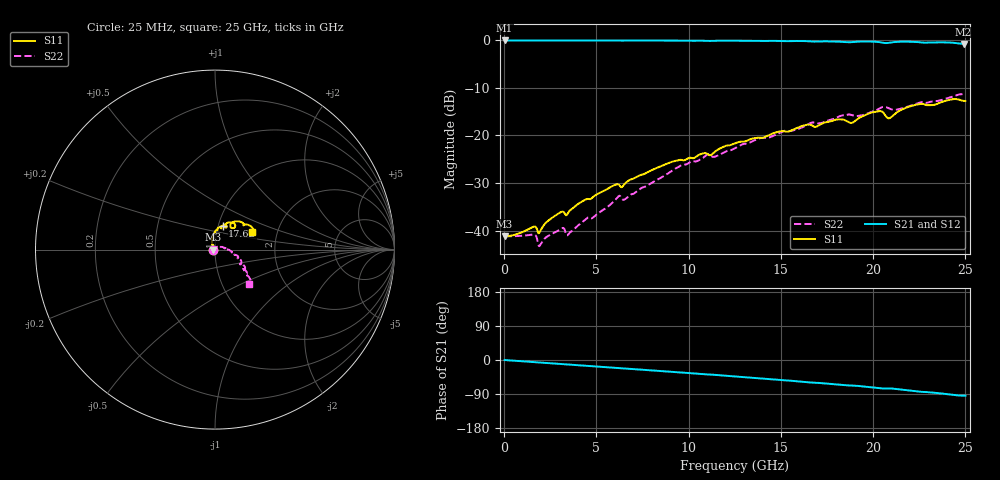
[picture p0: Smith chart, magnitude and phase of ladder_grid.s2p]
! RG_ts6_sw_pwr: kisi's ladder with the plane pairs as finite cavities (grid) (Finite board 24 × 16 mm, ThunderScope stack, via F → In3 (stub to B) through In1 GND / In2 PWR / In4 GND, four GND vias at 1 mm joined to In1 and In4 (openings in In2))
# Hz S RI R 50
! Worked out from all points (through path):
!   1000 points, 25 MHz to 25 GHz, reference 50 ohm
!   highest |S21| = -0.08 dB at 25 MHz (marker M1); lowest = -0.8 dB at 24.9 GHz (marker M2)
!   group delay of S21, straight-line fit = 10.4 ps
!   lowest |S11| = -41.1 dB at 25 MHz (marker M3), VSWR 1.02, Z = 49.1 + j0.00919 ohm
!   |S11| at or under -10 dB: start of sweep to end of sweep
!   |S22| runs from -43.2 to -11.3 dB; largest |S21 - S12| = 0
!   S11 on the Smith chart (normalised r, x): 25 MHz: 0.98, +0.00; 17.62 GHz: 1.05, +0.28; 25 GHz: 1.48, +0.31
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2.5e7  -0.00877 9.35e-05  0.9912 -0.00147  0.9912 -0.00147  -0.00877 8.96e-05
1.575e9  -0.00878 0.00666  0.9864 -0.0932  0.9864 -0.0932  -0.00672 0.00621
1.95e9  -0.00794 0.00596  0.983 -0.113  0.983 -0.113  -0.00481 0.00523
2.65e9  -0.0101 0.00965  0.9788 -0.1547  0.9788 -0.1547  -0.00435 0.00833
3.15e9  -0.0097 0.0126  0.9728 -0.1846  0.9728 -0.1846  -0.00166 0.0106
3.475e9  -0.0102 0.0118  0.9692 -0.2011  0.9692 -0.2011  -0.00047 0.00917
4.2e9  -0.012 0.0163  0.9603 -0.2439  0.9603 -0.2439  0.00196 0.0121
4.85e9  -0.0128 0.019  0.9499 -0.2805  0.9499 -0.2805  0.00558 0.0128
6.175e9  -0.0125 0.0282  0.922 -0.3566  0.922 -0.3566  0.0163 0.016
6.55e9  -0.0151 0.0275  0.9157 -0.3743  0.9157 -0.3743  0.0168 0.0133
8.35e9  -0.017 0.043  0.8687 -0.4743  0.8687 -0.4743  0.0313 0.0151
9.625e9  -0.0126 0.0539  0.8236 -0.5406  0.8236 -0.5406  0.0477 0.0126
1.12e10  -0.0121 0.0611  0.7674 -0.6101  0.7674 -0.6101  0.0614 -0.00083
1.2525e10  -0.0101 0.0826  0.7141 -0.6795  0.7141 -0.6795  0.0738 0.000218
1.6675e10  0.0367 0.1225  0.4887 -0.8334  0.4887 -0.8334  0.1298 -0.043
1.7625e10  0.043 0.1328  0.4386 -0.8639  0.4386 -0.8639  0.1351 -0.0521
1.885e10  0.0553 0.1238  0.3697 -0.8769  0.3697 -0.8769  0.1409 -0.0825
2.03e10  0.1017 0.1481  0.2576 -0.9195  0.2576 -0.9195  0.1655 -0.094
2.085e10  0.0903 0.1215  0.2437 -0.9031  0.2437 -0.9031  0.153 -0.1172
2.2325e10  0.1411 0.1553  0.1238 -0.9476  0.1238 -0.9476  0.1758 -0.1235
2.49e10  0.208 0.0994  -0.0665 -0.911  -0.0665 -0.911  0.19 -0.1912
2.5e10  0.2074 0.0999  -0.0696 -0.9119  -0.0696 -0.9119  0.1873 -0.191
